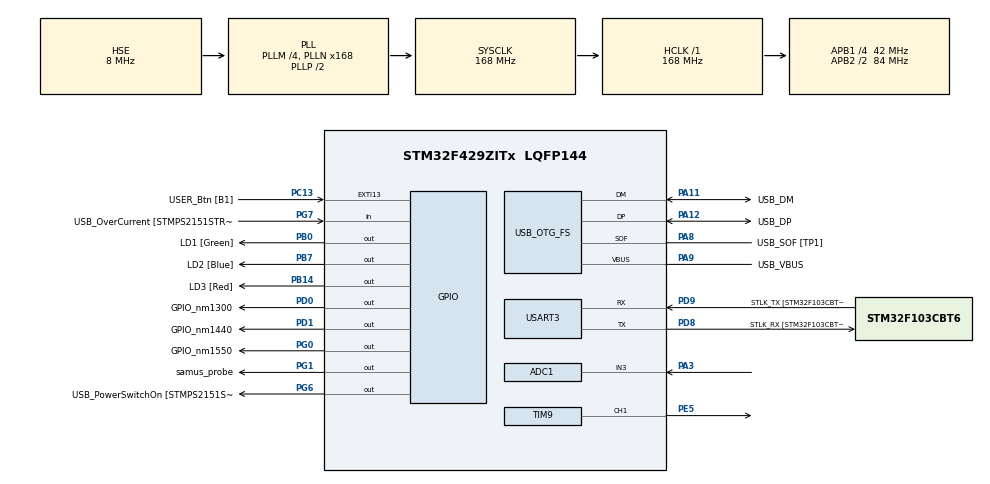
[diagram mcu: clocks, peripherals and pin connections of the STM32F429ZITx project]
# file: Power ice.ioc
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ADC1.Channel-2\#ChannelRegularConversion=ADC_CHANNEL_3
ADC1.ContinuousConvMode=DISABLE
ADC1.ExternalTrigConv=ADC_SOFTWARE_START
ADC1.NbrOfConversion=1
ADC1.NbrOfConversionFlag=1
ADC1.Rank-2\#ChannelRegularConversion=1
ADC1.SamplingTime-2\#ChannelRegularConversion=ADC_SAMPLETIME_3CYCLES
ADC1.master=1
Mcu.Family=STM32F4
Mcu.Name=STM32F429ZITx
Mcu.Package=LQFP144
NVIC.ADC_IRQn=true\:0\:0\:false\:false\:true\:true\:true
NVIC.EXTI15_10_IRQn=true\:0\:0\:false\:false\:true\:true\:true
NVIC.OTG_FS_IRQn=true\:0\:0\:false\:false\:true\:false\:true
NVIC.PriorityGroup=NVIC_PRIORITYGROUP_4
NVIC.TIM1_BRK_TIM9_IRQn=true\:0\:0\:false\:false\:true\:true\:true
PA1.GPIO_Label=RMII_REF_CLK [LAN8742A-CZ-TR_REFCLK0]
PA1.Signal=ETH_REF_CLK
PA10.GPIO_Label=USB_ID
PA10.Signal=USB_OTG_FS_ID
PA11.GPIO_Label=USB_DM
PA11.Mode=Device_Only
PA11.Signal=USB_OTG_FS_DM
PA12.GPIO_Label=USB_DP
PA12.Mode=Device_Only
PA12.Signal=USB_OTG_FS_DP
PA13.GPIO_Label=TMS
PA13.Mode=Serial_Wire
PA13.Signal=SYS_JTMS-SWDIO
PA14.GPIO_Label=TCK
PA14.Mode=Serial_Wire
PA14.Signal=SYS_JTCK-SWCLK
PA2.GPIO_Label=RMII_MDIO [LAN8742A-CZ-TR_MDIO]
PA2.Signal=ETH_MDIO
PA3.Signal=ADCx_IN3
PA7.GPIO_Label=RMII_CRS_DV [LAN8742A-CZ-TR_CRS_DV]
PA7.Signal=ETH_CRS_DV
PA8.GPIO_Label=USB_SOF [TP1]
PA8.Mode=Activate_SOF_FS
PA8.Signal=USB_OTG_FS_SOF
PA9.GPIO_Label=USB_VBUS
PA9.Mode=Activate_VBUS
PA9.Signal=USB_OTG_FS_VBUS
PB0.GPIO_Label=LD1 [Green]
PB0.Signal=GPIO_Output
PB13.GPIO_Label=RMII_TXD1 [LAN8742A-CZ-TR_TXD1]
PB13.Signal=ETH_TXD1
PB14.GPIO_Label=LD3 [Red]
PB14.Signal=GPIO_Output
PB7.GPIO_Label=LD2 [Blue]
PB7.Signal=GPIO_Output
PC1.GPIO_Label=RMII_MDC [LAN8742A-CZ-TR_MDC]
PC1.Signal=ETH_MDC
PC13.GPIO_Label=USER_Btn [B1]
PC13.Signal=GPXTI13
PC14/OSC32_IN.Mode=LSE-External-Oscillator
PC14/OSC32_IN.Signal=RCC_OSC32_IN
PC15/OSC32_OUT.Mode=LSE-External-Oscillator
PC15/OSC32_OUT.Signal=RCC_OSC32_OUT
PC4.GPIO_Label=RMII_RXD0 [LAN8742A-CZ-TR_RXD0]
PC4.Signal=ETH_RXD0
PC5.GPIO_Label=RMII_RXD1 [LAN8742A-CZ-TR_RXD1]
PC5.Signal=ETH_RXD1
PD0.GPIO_Label=GPIO_nm1300
PD0.Signal=GPIO_Output
PD1.GPIO_Label=GPIO_nm1440
PD1.Signal=GPIO_Output
PD8.GPIO_Label=STLK_RX [STM32F103CBT6_PA3]
PD8.Mode=Asynchronous
PD8.Signal=USART3_TX
PD9.GPIO_Label=STLK_TX [STM32F103CBT6_PA2]
PD9.Mode=Asynchronous
PD9.Signal=USART3_RX
PE5.Signal=S_TIM9_CH1
PG0.GPIO_Label=GPIO_nm1550
PG0.Signal=GPIO_Output
PG1.GPIO_Label=samus_probe
PG1.Signal=GPIO_Output
PG11.GPIO_Label=RMII_TX_EN [LAN8742A-CZ-TR_TXEN]
PG11.Signal=ETH_TX_EN
PG13.GPIO_Label=RMII_TXD0 [LAN8742A-CZ-TR_TXD0]
PG13.Signal=ETH_TXD0
PG6.GPIO_Label=USB_PowerSwitchOn [STMPS2151STR_EN]
PG6.Signal=GPIO_Output
PG7.GPIO_Label=USB_OverCurrent [STMPS2151STR_FAULT]
PG7.Signal=GPIO_Input
PH0/OSC_IN.GPIO_Label=MCO [STM32F103CBT6_PA8]
PH0/OSC_IN.Mode=HSE-External-Clock-Source
PH0/OSC_IN.Signal=RCC_OSC_IN
PH1/OSC_OUT.Mode=HSE-External-Clock-Source
PH1/OSC_OUT.Signal=RCC_OSC_OUT
ProjectManager.HeapSize=0x200
ProjectManager.StackSize=0x400
ProjectManager.TargetToolchain=STM32CubeIDE
RCC.48MHZClocksFreq_Value=48000000
RCC.AHBFreq_Value=168000000
RCC.APB1CLKDivider=RCC_HCLK_DIV4
RCC.APB1Freq_Value=42000000
RCC.APB1TimFreq_Value=84000000
RCC.APB2CLKDivider=RCC_HCLK_DIV2
RCC.APB2Freq_Value=84000000
RCC.APB2TimCLKDivider=2
RCC.APB2TimFreq_Value=168000000
RCC.CortexFreq_Value=168000000
RCC.HCLKFreq_Value=168000000
RCC.HSE_VALUE=8000000
RCC.HSI_VALUE=16000000
RCC.PLLM=4
RCC.PLLMUL=RCC_PLL_MUL9
RCC.PLLN=168
RCC.PLLQ=7
RCC.PRESCALERUSB=RCC_USBCLKSOURCE_PLL_DIV1_5
RCC.SYSCLKFreq_VALUE=168000000
RCC.SYSCLKSource=RCC_SYSCLKSOURCE_PLLCLK
RCC.SYSCLKSourceVirtual=RCC_SYSCLKSOURCE_PLLCLK
RCC.USBFreq_Value=48000000
RCC.VCOOutputFreq_Value=336000000
SH.ADCx_IN3.0=ADC1_IN3,IN3
SH.S_TIM9_CH1.0=TIM9_CH1,PWM Generation1 CH1
TIM9.Channel-PWM\ Generation1\ CH1=TIM_CHANNEL_1
TIM9.ClockDivision=TIM_CLOCKDIVISION_DIV1
TIM9.Period=1
TIM9.Prescaler=8400
USART3.VirtualMode=VM_ASYNC
USB_DEVICE.CLASS_NAME_FS=CDC
USB_DEVICE.PRODUCT_STRING_CDC_FS=STM32 Ice Sensor
USB_DEVICE.VirtualMode-CDC_FS=Cdc
USB_DEVICE.VirtualModeFS=Cdc_FS
USB_OTG_FS.VirtualMode=Device_Only
VP_TIM9_VS_ClockSourceINT.Mode=Internal
VP_USB_DEVICE_VS_USB_DEVICE_CDC_FS.Mode=CDC_FS
board=NUCLEO-F429ZI

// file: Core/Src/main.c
/* USER CODE BEGIN Header */
/**
  ******************************************************************************
  * @file           : main.c
  * @brief          : Main program body
  ******************************************************************************
  * @attention
  *
  * <h2><center>&copy; Copyright (c) 2022 STMicroelectronics.
  * All rights reserved.</center></h2>
  *
  * This software component is licensed by ST under BSD 3-Clause license,
  * the "License"; You may not use this file except in compliance with the
  * License. You may obtain a copy of the License at:
  *                        opensource.org/licenses/BSD-3-Clause
  *
  ******************************************************************************
  */
/* USER CODE END Header */
#include "main.h"
#include "usb_device.h"

/* USER CODE BEGIN Includes */

#include <stdint.h>
#include <string.h>

#include "usbd_cdc_if.h"

/* USER CODE END Includes */

/* USER CODE BEGIN PD */

#define LED_FULL_PERIOD 		15000

#define DC_START_OFFSET			0
#define DC_STOP_OFFSET			2000

#define LED_1550_START_OFFSET 	3000
#define LED_1550_STOP_OFFSET 	5000

#define LED_1440_START_OFFSET 	6000
#define LED_1440_STOP_OFFSET	8000

#define LED_1300_START_OFFSET	9000
#define LED_1300_STOP_OFFSET	11000

#define IR_SAMPLE_BUFFER_SIZE 2000

/* USER CODE END PD */

ADC_HandleTypeDef hadc1;

TIM_HandleTypeDef htim9;

UART_HandleTypeDef huart3;

/* USER CODE BEGIN PV */

uint16_t ir_1550_samples[IR_SAMPLE_BUFFER_SIZE];
uint16_t ir_1440_samples[IR_SAMPLE_BUFFER_SIZE];
uint16_t ir_1300_samples[IR_SAMPLE_BUFFER_SIZE];

/* USER CODE END PV */

void SystemClock_Config(void);
static void MX_GPIO_Init(void);
static void MX_USART3_UART_Init(void);
static void MX_TIM9_Init(void);
static void MX_ADC1_Init(void);

/* USER CODE BEGIN 0 */

int gaming = 0;

uint32_t timer = 0;

/* USER CODE END 0 */

int main(void)
{

  /* MCU Configuration--------------------------------------------------------*/

  /* Reset of all peripherals, Initializes the Flash interface and the Systick. */
  HAL_Init();

  /* Configure the system clock */
  SystemClock_Config();

  /* Initialize all configured peripherals */
  MX_GPIO_Init();
  MX_USART3_UART_Init();
  MX_TIM9_Init();
  MX_ADC1_Init();
  MX_USB_DEVICE_Init();
  /* USER CODE BEGIN 2 */

  HAL_TIM_Base_Start_IT(&htim9);

  HAL_ADC_Start_IT(&hadc1);

  uint8_t my_string[30];
  sprintf((char*) my_string, "hej");

  /* USER CODE END 2 */

  /* Infinite loop */
  /* USER CODE BEGIN WHILE */
  while (1)
  {
	  //HAL_GPIO_WritePin(GPIO_nm1550_GPIO_Port, GPIO_nm1550_Pin, GPIO_PIN_SET);
	  //HAL_GPIO_WritePin(GPIO_nm1300_GPIO_Port, GPIO_nm1300_Pin, GPIO_PIN_SET);
	  //HAL_GPIO_WritePin(GPIO_nm1440_GPIO_Port, GPIO_nm1440_Pin, GPIO_PIN_SET);
	  //HAL_GPIO_TogglePin(LD2_GPIO_Port, LD2_Pin);

	  //HAL_Delay(100);
	  //HAL_GPIO_WritePin(samus_probe_GPIO_Port, samus_probe_Pin, GPIO_PIN_SET);
    /* USER CODE END WHILE */

  }
}

void SystemClock_Config(void)
{
  RCC_OscInitTypeDef RCC_OscInitStruct = {0};
  RCC_ClkInitTypeDef RCC_ClkInitStruct = {0};

  /** Configure the main internal regulator output voltage
  */
  __HAL_RCC_PWR_CLK_ENABLE();
  __HAL_PWR_VOLTAGESCALING_CONFIG(PWR_REGULATOR_VOLTAGE_SCALE1);
  /** Initializes the RCC Oscillators according to the specified parameters
  * in the RCC_OscInitTypeDef structure.
  */
  RCC_OscInitStruct.OscillatorType = RCC_OSCILLATORTYPE_HSE;
  RCC_OscInitStruct.HSEState = RCC_HSE_BYPASS;
  RCC_OscInitStruct.PLL.PLLState = RCC_PLL_ON;
  RCC_OscInitStruct.PLL.PLLSource = RCC_PLLSOURCE_HSE;
  RCC_OscInitStruct.PLL.PLLM = 4;
  RCC_OscInitStruct.PLL.PLLN = 168;
  RCC_OscInitStruct.PLL.PLLP = RCC_PLLP_DIV2;
  RCC_OscInitStruct.PLL.PLLQ = 7;
  if (HAL_RCC_OscConfig(&RCC_OscInitStruct) != HAL_OK)
  {
    Error_Handler();
  }
  /** Initializes the CPU, AHB and APB buses clocks
  */
  RCC_ClkInitStruct.ClockType = RCC_CLOCKTYPE_HCLK|RCC_CLOCKTYPE_SYSCLK
                              |RCC_CLOCKTYPE_PCLK1|RCC_CLOCKTYPE_PCLK2;
  RCC_ClkInitStruct.SYSCLKSource = RCC_SYSCLKSOURCE_PLLCLK;
  RCC_ClkInitStruct.AHBCLKDivider = RCC_SYSCLK_DIV1;
  RCC_ClkInitStruct.APB1CLKDivider = RCC_HCLK_DIV4;
  RCC_ClkInitStruct.APB2CLKDivider = RCC_HCLK_DIV2;

  if (HAL_RCC_ClockConfig(&RCC_ClkInitStruct, FLASH_LATENCY_5) != HAL_OK)
  {
    Error_Handler();
  }
}

static void MX_ADC1_Init(void)
{

  ADC_ChannelConfTypeDef sConfig = {0};

  /** Configure the global features of the ADC (Clock, Resolution, Data Alignment and number of conversion)
  */
  hadc1.Instance = ADC1;
  hadc1.Init.ClockPrescaler = ADC_CLOCK_SYNC_PCLK_DIV4;
  hadc1.Init.Resolution = ADC_RESOLUTION_12B;
  hadc1.Init.ScanConvMode = DISABLE;
  hadc1.Init.ContinuousConvMode = DISABLE;
  hadc1.Init.DiscontinuousConvMode = DISABLE;
  hadc1.Init.ExternalTrigConvEdge = ADC_EXTERNALTRIGCONVEDGE_NONE;
  hadc1.Init.ExternalTrigConv = ADC_SOFTWARE_START;
  hadc1.Init.DataAlign = ADC_DATAALIGN_RIGHT;
  hadc1.Init.NbrOfConversion = 1;
  hadc1.Init.DMAContinuousRequests = DISABLE;
  hadc1.Init.EOCSelection = ADC_EOC_SINGLE_CONV;
  if (HAL_ADC_Init(&hadc1) != HAL_OK)
  {
    Error_Handler();
  }
  /** Configure for the selected ADC regular channel its corresponding rank in the sequencer and its sample time.
  */
  sConfig.Channel = ADC_CHANNEL_3;
  sConfig.Rank = 1;
  sConfig.SamplingTime = ADC_SAMPLETIME_3CYCLES;
  if (HAL_ADC_ConfigChannel(&hadc1, &sConfig) != HAL_OK)
  {
    Error_Handler();
  }

}

static void MX_TIM9_Init(void)
{

  TIM_ClockConfigTypeDef sClockSourceConfig = {0};
  TIM_OC_InitTypeDef sConfigOC = {0};

  htim9.Instance = TIM9;
  htim9.Init.Prescaler = 8400;
  htim9.Init.CounterMode = TIM_COUNTERMODE_UP;
  htim9.Init.Period = 1;
  htim9.Init.ClockDivision = TIM_CLOCKDIVISION_DIV1;
  htim9.Init.AutoReloadPreload = TIM_AUTORELOAD_PRELOAD_DISABLE;
  if (HAL_TIM_Base_Init(&htim9) != HAL_OK)
  {
    Error_Handler();
  }
  sClockSourceConfig.ClockSource = TIM_CLOCKSOURCE_INTERNAL;
  if (HAL_TIM_ConfigClockSource(&htim9, &sClockSourceConfig) != HAL_OK)
  {
    Error_Handler();
  }
  if (HAL_TIM_PWM_Init(&htim9) != HAL_OK)
  {
    Error_Handler();
  }
  sConfigOC.OCMode = TIM_OCMODE_PWM1;
  sConfigOC.Pulse = 0;
  sConfigOC.OCPolarity = TIM_OCPOLARITY_HIGH;
  sConfigOC.OCFastMode = TIM_OCFAST_DISABLE;
  if (HAL_TIM_PWM_ConfigChannel(&htim9, &sConfigOC, TIM_CHANNEL_1) != HAL_OK)
  {
    Error_Handler();
  }
  HAL_TIM_MspPostInit(&htim9);

}

static void MX_USART3_UART_Init(void)
{

  huart3.Instance = USART3;
  huart3.Init.BaudRate = 115200;
  huart3.Init.WordLength = UART_WORDLENGTH_8B;
  huart3.Init.StopBits = UART_STOPBITS_1;
  huart3.Init.Parity = UART_PARITY_NONE;
  huart3.Init.Mode = UART_MODE_TX_RX;
  huart3.Init.HwFlowCtl = UART_HWCONTROL_NONE;
  huart3.Init.OverSampling = UART_OVERSAMPLING_16;
  if (HAL_UART_Init(&huart3) != HAL_OK)
  {
    Error_Handler();
  }

}

static void MX_GPIO_Init(void)
{
  GPIO_InitTypeDef GPIO_InitStruct = {0};

  /* GPIO Ports Clock Enable */
  __HAL_RCC_GPIOE_CLK_ENABLE();
  __HAL_RCC_GPIOC_CLK_ENABLE();
  __HAL_RCC_GPIOH_CLK_ENABLE();
  __HAL_RCC_GPIOA_CLK_ENABLE();
  __HAL_RCC_GPIOB_CLK_ENABLE();
  __HAL_RCC_GPIOG_CLK_ENABLE();
  __HAL_RCC_GPIOD_CLK_ENABLE();

  /*Configure GPIO pin Output Level */
  HAL_GPIO_WritePin(GPIOB, LD1_Pin|LD3_Pin|LD2_Pin, GPIO_PIN_RESET);

  /*Configure GPIO pin Output Level */
  HAL_GPIO_WritePin(GPIOG, GPIO_nm1550_Pin|samus_probe_Pin|USB_PowerSwitchOn_Pin, GPIO_PIN_RESET);

  /*Configure GPIO pin Output Level */
  HAL_GPIO_WritePin(GPIOD, GPIO_nm1300_Pin|GPIO_nm1440_Pin, GPIO_PIN_RESET);

  /*Configure GPIO pin : USER_Btn_Pin */
  GPIO_InitStruct.Pin = USER_Btn_Pin;
  GPIO_InitStruct.Mode = GPIO_MODE_IT_RISING;
  GPIO_InitStruct.Pull = GPIO_NOPULL;
  HAL_GPIO_Init(USER_Btn_GPIO_Port, &GPIO_InitStruct);

  /*Configure GPIO pins : RMII_MDC_Pin RMII_RXD0_Pin RMII_RXD1_Pin */
  GPIO_InitStruct.Pin = RMII_MDC_Pin|RMII_RXD0_Pin|RMII_RXD1_Pin;
  GPIO_InitStruct.Mode = GPIO_MODE_AF_PP;
  GPIO_InitStruct.Pull = GPIO_NOPULL;
  GPIO_InitStruct.Speed = GPIO_SPEED_FREQ_VERY_HIGH;
  GPIO_InitStruct.Alternate = GPIO_AF11_ETH;
  HAL_GPIO_Init(GPIOC, &GPIO_InitStruct);

  /*Configure GPIO pins : RMII_REF_CLK_Pin RMII_MDIO_Pin RMII_CRS_DV_Pin */
  GPIO_InitStruct.Pin = RMII_REF_CLK_Pin|RMII_MDIO_Pin|RMII_CRS_DV_Pin;
  GPIO_InitStruct.Mode = GPIO_MODE_AF_PP;
  GPIO_InitStruct.Pull = GPIO_NOPULL;
  GPIO_InitStruct.Speed = GPIO_SPEED_FREQ_VERY_HIGH;
  GPIO_InitStruct.Alternate = GPIO_AF11_ETH;
  HAL_GPIO_Init(GPIOA, &GPIO_InitStruct);

  /*Configure GPIO pins : LD1_Pin LD3_Pin LD2_Pin */
  GPIO_InitStruct.Pin = LD1_Pin|LD3_Pin|LD2_Pin;
  GPIO_InitStruct.Mode = GPIO_MODE_OUTPUT_PP;
  GPIO_InitStruct.Pull = GPIO_NOPULL;
  GPIO_InitStruct.Speed = GPIO_SPEED_FREQ_LOW;
  HAL_GPIO_Init(GPIOB, &GPIO_InitStruct);

  /*Configure GPIO pins : GPIO_nm1550_Pin samus_probe_Pin USB_PowerSwitchOn_Pin */
  GPIO_InitStruct.Pin = GPIO_nm1550_Pin|samus_probe_Pin|USB_PowerSwitchOn_Pin;
  GPIO_InitStruct.Mode = GPIO_MODE_OUTPUT_PP;
  GPIO_InitStruct.Pull = GPIO_NOPULL;
  GPIO_InitStruct.Speed = GPIO_SPEED_FREQ_LOW;
  HAL_GPIO_Init(GPIOG, &GPIO_InitStruct);

  /*Configure GPIO pin : RMII_TXD1_Pin */
  GPIO_InitStruct.Pin = RMII_TXD1_Pin;
  GPIO_InitStruct.Mode = GPIO_MODE_AF_PP;
  GPIO_InitStruct.Pull = GPIO_NOPULL;
  GPIO_InitStruct.Speed = GPIO_SPEED_FREQ_VERY_HIGH;
  GPIO_InitStruct.Alternate = GPIO_AF11_ETH;
  HAL_GPIO_Init(RMII_TXD1_GPIO_Port, &GPIO_InitStruct);

  /*Configure GPIO pin : USB_OverCurrent_Pin */
  GPIO_InitStruct.Pin = USB_OverCurrent_Pin;
  GPIO_InitStruct.Mode = GPIO_MODE_INPUT;
  GPIO_InitStruct.Pull = GPIO_NOPULL;
  HAL_GPIO_Init(USB_OverCurrent_GPIO_Port, &GPIO_InitStruct);

  /*Configure GPIO pins : GPIO_nm1300_Pin GPIO_nm1440_Pin */
  GPIO_InitStruct.Pin = GPIO_nm1300_Pin|GPIO_nm1440_Pin;
  GPIO_InitStruct.Mode = GPIO_MODE_OUTPUT_PP;
  GPIO_InitStruct.Pull = GPIO_NOPULL;
  GPIO_InitStruct.Speed = GPIO_SPEED_FREQ_LOW;
  HAL_GPIO_Init(GPIOD, &GPIO_InitStruct);

  /*Configure GPIO pins : RMII_TX_EN_Pin RMII_TXD0_Pin */
  GPIO_InitStruct.Pin = RMII_TX_EN_Pin|RMII_TXD0_Pin;
  GPIO_InitStruct.Mode = GPIO_MODE_AF_PP;
  GPIO_InitStruct.Pull = GPIO_NOPULL;
  GPIO_InitStruct.Speed = GPIO_SPEED_FREQ_VERY_HIGH;
  GPIO_InitStruct.Alternate = GPIO_AF11_ETH;
  HAL_GPIO_Init(GPIOG, &GPIO_InitStruct);

  /* EXTI interrupt init*/
  HAL_NVIC_SetPriority(EXTI15_10_IRQn, 0, 0);
  HAL_NVIC_EnableIRQ(EXTI15_10_IRQn);

}

/* USER CODE BEGIN 4 */

char* start = "--LED";
char* stop = "--stop--";
char* start_pattern[100];
char* sequence_complete_pattern = "--compl--";

int dc_on = 0;
int led_1_on = 0;
int led_2_on = 0;
int led_3_on = 0;

uint32_t dc_data_size = 0;
uint32_t led_1_data_size = 0;
uint32_t led_2_data_size = 0;
uint32_t led_3_data_size = 0;

uint16_t dc_data[IR_SAMPLE_BUFFER_SIZE];
uint16_t led_1_data[IR_SAMPLE_BUFFER_SIZE];
uint16_t led_2_data[IR_SAMPLE_BUFFER_SIZE];
uint16_t led_3_data[IR_SAMPLE_BUFFER_SIZE];

int buffer_sent = 0;

uint8_t data[100];

void send_buffer(uint16_t* buffer, size_t size, uint8_t led){
	sprintf(start_pattern, "%s%d", start, led);
	for(size_t i = 0; i < size; i++){
		sprintf(data, "LED%d: %d\n", led, buffer[i]);
		HAL_UART_Transmit(&huart3, data, strlen(data), 10);
	}
}

void led_turned_on_state(GPIO_TypeDef* port, uint16_t pin, int *state){
	HAL_ADC_Start_IT(&hadc1);
	*state = 1;
	HAL_GPIO_WritePin(port, pin, GPIO_PIN_SET);
	buffer_sent = 0;
}

void led_turned_off_state(GPIO_TypeDef* port, uint16_t pin, int *state){
	//HAL_ADC_Stop_IT(&hadc1);
	*state = 0;
	HAL_GPIO_WritePin(port, pin, GPIO_PIN_RESET);
}

int test = 0;

void HAL_TIM_PeriodElapsedCallback(TIM_HandleTypeDef *htim){
	if(test > DC_START_OFFSET && test < DC_STOP_OFFSET){
		led_turned_on_state(LD3_GPIO_Port, LD3_Pin, &dc_on);
	}
	else{
		led_turned_off_state(LD3_GPIO_Port, LD3_Pin, &dc_on);
	}

	if(test > LED_1550_START_OFFSET && test < LED_1550_STOP_OFFSET){
		led_turned_on_state(GPIO_nm1550_GPIO_Port, GPIO_nm1550_Pin, &led_1_on);
	}
	else{
		led_turned_off_state(GPIO_nm1550_GPIO_Port, GPIO_nm1550_Pin, &led_1_on);
	}

	if(test > LED_1440_START_OFFSET && test < LED_1440_STOP_OFFSET){
		led_turned_on_state(GPIO_nm1440_GPIO_Port, GPIO_nm1440_Pin, &led_2_on);
	}
	else{
		led_turned_off_state(GPIO_nm1440_GPIO_Port, GPIO_nm1440_Pin, &led_2_on);
	}

	if(test > LED_1300_START_OFFSET && test < LED_1300_STOP_OFFSET){
		led_turned_on_state(GPIO_nm1300_GPIO_Port, GPIO_nm1300_Pin, &led_3_on);
	}
	else{
		led_turned_off_state(GPIO_nm1300_GPIO_Port, GPIO_nm1300_Pin, &led_3_on);
	}

	test++;

	if(test >= LED_FULL_PERIOD){
		test = 0;
		HAL_GPIO_WritePin(LD2_GPIO_Port, LD2_Pin, GPIO_PIN_RESET);
		HAL_TIM_PWM_Stop(&htim9, TIM_CHANNEL_1);
		HAL_TIM_PWM_Stop_IT(&htim9, TIM_CHANNEL_1);

		HAL_GPIO_WritePin(LD1_GPIO_Port, LD1_Pin, GPIO_PIN_SET);
		send_buffer(dc_data, dc_data_size, 0);
		send_buffer(led_1_data, led_1_data_size, 1);
		send_buffer(led_2_data, led_2_data_size, 2);
		send_buffer(led_3_data, led_3_data_size, 3);
		buffer_sent = 1;
		HAL_GPIO_WritePin(LD1_GPIO_Port, LD1_Pin, GPIO_PIN_RESET);

		dc_data_size = 0;
		led_1_data_size = 0;
		led_2_data_size = 0;
		led_3_data_size = 0;
	}
}

int adc_test = 0;

void HAL_ADC_ConvCpltCallback(ADC_HandleTypeDef *hadc){
	uint16_t value = HAL_ADC_GetValue(&hadc1);
	adc_test = value;
	if(dc_on){
		if(dc_data_size < IR_SAMPLE_BUFFER_SIZE){
			dc_data[dc_data_size++] = value;
		}
	}
	else if(led_1_on){
		if(led_1_data_size < IR_SAMPLE_BUFFER_SIZE){
			led_1_data[led_1_data_size++] = value;
		}
	}
	else if(led_2_on){
		if(led_2_data_size < IR_SAMPLE_BUFFER_SIZE){
			led_2_data[led_2_data_size++] = value;
		}
	}
	else if(led_3_on){
		if(led_3_data_size < IR_SAMPLE_BUFFER_SIZE){
			led_3_data[led_3_data_size++] = value;
		}
	}
}

void HAL_GPIO_EXTI_Callback(uint16_t GPIO_Pin){
	HAL_GPIO_WritePin(LD2_GPIO_Port, LD2_Pin, GPIO_PIN_SET);
	HAL_TIM_PWM_Start_IT(&htim9, TIM_CHANNEL_1);
	HAL_TIM_PWM_Start(&htim9, TIM_CHANNEL_1);

}

/* USER CODE END 4 */

void Error_Handler(void)
{
  /* USER CODE BEGIN Error_Handler_Debug */
  /* User can add his own implementation to report the HAL error return state */
  __disable_irq();
  while (1)
  {
	  HAL_GPIO_WritePin(LD1_GPIO_Port, LD1_Pin, GPIO_PIN_SET);
  }
  /* USER CODE END Error_Handler_Debug */
}

/************************ (C) COPYRIGHT STMicroelectronics *****END OF FILE****/
